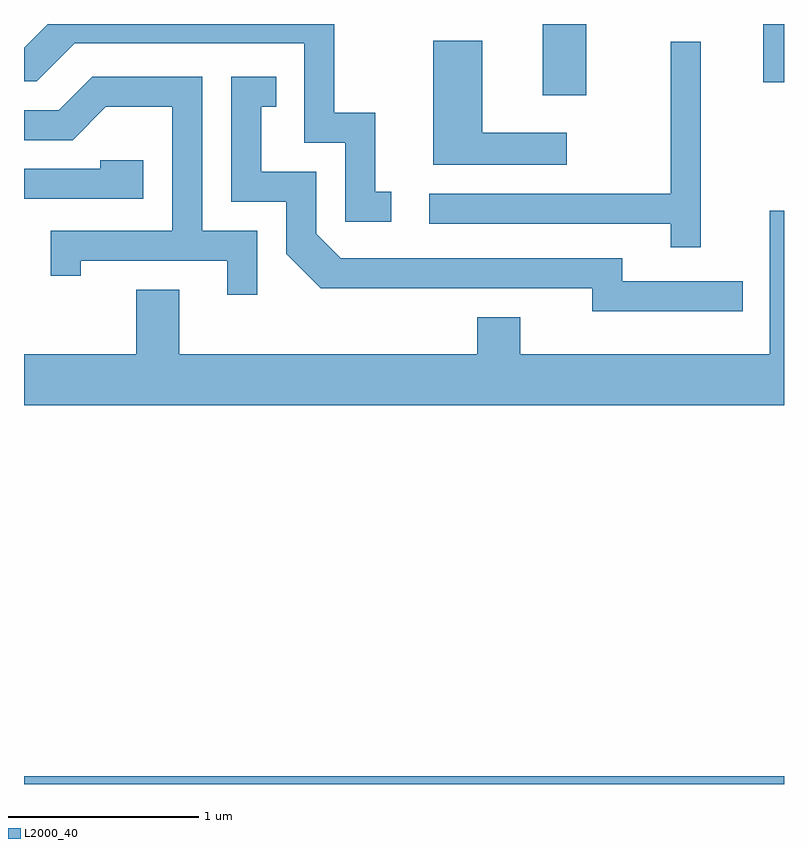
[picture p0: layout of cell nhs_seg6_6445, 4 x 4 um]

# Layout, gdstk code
import gdstk
lib = gdstk.Library(unit=1e-6, precision=1e-09)
def R(c, l, rs):  # rectangles x0, y0, x1, y1
    for r in rs: c.add(gdstk.rectangle(r[:2], r[2:], *l))
def P(c, l, *ps):  # polygons
    for p in ps: c.add(gdstk.Polygon(p, *l))
L2000_40 = (2000, 40)

nhs_seg6_6445 = lib.new_cell('nhs_seg6_6445')
R(nhs_seg6_6445, L2000_40, [(379.611,1650.162,383.611,1650.204), (382.341,1653.786,382.569,1654.162), (383.501,1653.856,383.611,1654.162)])
P(nhs_seg6_6445, L2000_40, [(381.543,1653.279),(381.459,1653.279),(381.459,1653.694),(381.244,1653.694),(381.244,1654.162),(379.737,1654.162),(379.611,1654.036),(379.611,1653.861),(379.677,1653.861),(379.877,1654.061),(381.086,1654.061),(381.086,1653.536),(381.301,1653.536),(381.301,1653.121),(381.543,1653.121)],
  [(382.468,1653.589),(382.024,1653.589),(382.024,1654.074),(381.766,1654.074),(381.766,1653.421),(382.468,1653.421)],
  [(383.174,1654.068),(383.016,1654.068),(383.016,1653.269),(381.743,1653.269),(381.743,1653.111),(383.016,1653.111),(383.016,1652.988),(383.174,1652.988)],
  [(383.393,1652.809),(382.759,1652.809),(382.759,1652.929),(381.277,1652.929),(381.149,1653.057),(381.149,1653.384),(380.859,1653.384),(380.859,1653.726),(380.938,1653.726),(380.938,1653.884),(380.701,1653.884),(380.701,1653.226),(380.991,1653.226),(380.991,1652.954),(381.174,1652.771),(382.601,1652.771),(382.601,1652.651),(383.393,1652.651)],
  [(380.839,1653.074),(380.549,1653.074),(380.549,1653.884),(379.969,1653.884),(379.794,1653.709),(379.611,1653.709),(379.611,1653.551),(379.867,1653.551),(380.042,1653.726),(380.391,1653.726),(380.391,1653.074),(379.751,1653.074),(379.751,1652.838),(379.909,1652.838),(379.909,1652.916),(380.681,1652.916),(380.681,1652.738),(380.839,1652.738)],
  [(380.239,1653.444),(380.011,1653.444),(380.011,1653.399),(379.611,1653.399),(379.611,1653.241),(380.239,1653.241)],
  [(383.611,1653.178),(383.536,1653.178),(383.536,1652.424),(382.224,1652.424),(382.224,1652.619),(381.996,1652.619),(381.996,1652.424),(380.429,1652.424),(380.429,1652.764),(380.201,1652.764),(380.201,1652.424),(379.611,1652.424),(379.611,1652.156),(383.611,1652.156)])

lib.write_gds('nhs_seg6_6445.gds')
